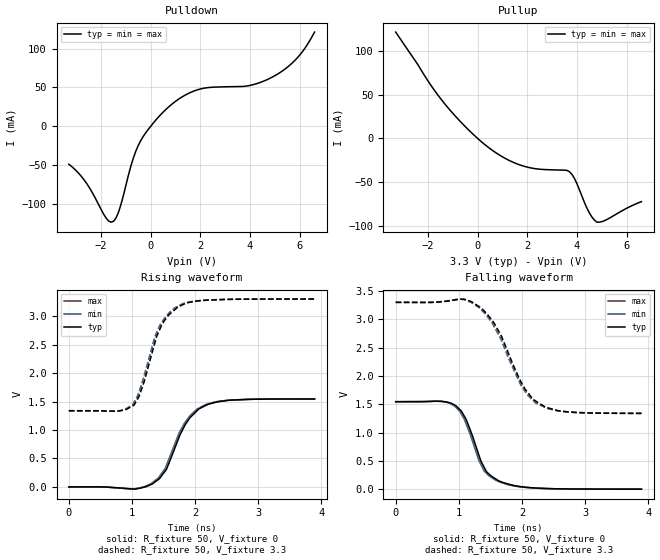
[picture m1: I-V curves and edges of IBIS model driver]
| IBIS file ex2_slowpre_tr50ps.ibs created by PYS2IBIS3
| Missouri S&T EMC Lab
[IBIS Ver] 7.1
[File Name] ex2_slowpre_tr50ps.ibs
[File Rev] 1.0
[Date] July 28, 2026
[Source] ex2 variant 'slowpre' -- predriver at half width
[Notes] Parameter selection; sim_time=3.894e-09, tr=tf=5.000e-11.
[Disclaimer] Experimental characterization for pybis observability study.
[Component] MCM Driver 1
[Manufacturer] MegaFLOPS Inc.
[Package]
| variable   typ   min   max
R_pkg 0 NA NA
L_pkg 0H NA NA
C_pkg 0F NA NA
[Pin]  signal_name   model_name   R_pin   L_pin   C_pin
vdd   vdd   POWER
gnd   gnd   GND
| in in dummy
out   out   driver
| End of Component
| Models and submodels in the file (1): driver (Output)
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[Model] driver
Model_type Output
Polarity Non-Inverting
Enable Active-Low
Vinl  = 0.8V
Vinh  = 2V
C_comp 5.0000pF 5.0000pF 5.0000pF
[Temperature Range] 27.0000 27.0000 27.0000
[Voltage Range] 3.3000V 3.3000V 3.3000V
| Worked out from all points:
|   slope of the pulldown table from 0 to 0.495 V, typ, clamps not added: 27.4 ohm
|   slope of the pullup table from 0 to 0.495 V, typ, clamps not added: 42.7 ohm
|   rising waveform, R_fixture 50, V_fixture 0: 20-80 % time 391ps typ, 389ps min, 389ps max; typ from 0 V to 1.54 V
|   rising waveform, R_fixture 50, V_fixture 3.3: 20-80 % time 349ps typ, 351ps min, 351ps max; typ from 1.34 V to 3.3 V
|   falling waveform, R_fixture 50, V_fixture 0: 20-80 % time 323ps typ, 325ps min, 325ps max; typ from 1.54 V to 0 V
|   falling waveform, R_fixture 50, V_fixture 3.3: 20-80 % time 503ps typ, 503ps min, 503ps max; typ from 3.3 V to 1.34 V
[Pulldown]
| Voltage   I(typ)   I(min)   I(max)
-3.3V     -48.93mA   -48.93mA   -48.93mA
-2.6V     -72.86mA   -72.86mA   -72.86mA
-1.8V     -118.2mA   -118.2mA   -118.2mA
-1.5V     -122.5mA   -122.5mA   -122.5mA
-1.3V     -110.9mA   -110.9mA   -110.9mA
-500mV    -24.59mA   -24.59mA   -24.59mA
600mV     21.34mA    21.34mA    21.34mA
1.9V      47.12mA    47.12mA    47.12mA
3.9V      51.99mA    51.99mA    51.99mA
4.9V      63.38mA    63.38mA    63.38mA
5.9V      87.99mA    87.99mA    87.99mA
6.6V      121.3mA    121.3mA    121.3mA
[Pullup]
| Voltage   I(typ)   I(min)   I(max)
-3.3V     122mA      122mA      122mA
-1.9V     61.75mA    61.75mA    61.75mA
-1.3V     38.86mA    38.86mA    38.86mA
-200mV    5.278mA    5.278mA    5.278mA
700mV     -15.75mA   -15.75mA   -15.75mA
2V        -32.92mA   -32.92mA   -32.92mA
3.7V      -38.24mA   -38.24mA   -38.24mA
3.9V      -45.89mA   -45.89mA   -45.89mA
4.5V      -85.43mA   -85.43mA   -85.43mA
4.8V      -95.97mA   -95.97mA   -95.97mA
5.1V      -94.48mA   -94.48mA   -94.48mA
6.6V      -72.53mA   -72.53mA   -72.53mA
[Ramp]
| variable   typ   min   max
dV/dt_r 0.9270/0.3904n 0.9270/0.3886n 0.9270/0.3886n
dV/dt_f 1.1766/0.5027n 1.1766/0.5027n 1.1766/0.5027n
R_load = 50
[Rising Waveform]
R_fixture = 50
V_fixture = 0
|time   V(typ)   V(min)   V(max)
0s        7.302nV    7.302nV    7.302nV
1.017ns   -37.78mV   -38.99mV   -38.99mV
1.321ns   50.12mV    71mV       71mV
1.419ns   130.1mV    155.2mV    155.2mV
1.547ns   309mV      376.9mV    376.9mV
1.828ns   1.061V     1.11V      1.11V
2.05ns    1.359V     1.376V     1.376V
2.175ns   1.435V     1.45V      1.45V
2.67ns    1.531V     1.532V     1.532V
3.894ns   1.545V     1.545V     1.545V
[Rising Waveform]
R_fixture = 50
V_fixture = 3.3
|time   V(typ)   V(min)   V(max)
0s        1.338V     1.338V     1.338V
795.1ps   1.333V     1.336V     1.336V
1.033ns   1.436V     1.482V     1.482V
1.189ns   1.828V     1.93V      1.93V
1.36ns    2.521V     2.624V     2.624V
1.442ns   2.772V     2.837V     2.837V
1.583ns   3.019V     3.05V      3.05V
1.813ns   3.204V     3.222V     3.222V
2.284ns   3.286V     3.287V     3.287V
3.894ns   3.3V       3.3V       3.3V
[Falling Waveform]
R_fixture = 50
V_fixture = 0
|time   V(typ)   V(min)   V(max)
0s        1.545V     1.545V     1.545V
721.1ps   1.552V     1.551V     1.551V
951.1ps   1.477V     1.451V     1.451V
1.115ns   1.236V     1.162V     1.162V
1.314ns   613.6mV    523.3mV    523.3mV
1.403ns   381mV      320.6mV    320.6mV
1.505ns   237.9mV    218.4mV    218.4mV
1.653ns   137.8mV    124.8mV    124.8mV
2.222ns   18.73mV    17.77mV    17.77mV
3.894ns   99.85uV    103.9uV    103.9uV
[Falling Waveform]
R_fixture = 50
V_fixture = 3.3
|time   V(typ)   V(min)   V(max)
0s        3.3V       3.3V       3.3V
1.021ns   3.356V     3.358V     3.358V
1.345ns   3.21V      3.182V     3.182V
1.52ns    2.994V     2.957V     2.957V
1.672ns   2.713V     2.643V     2.643V
1.953ns   1.961V     1.914V     1.914V
2.078ns   1.728V     1.68V      1.68V
2.175ns   1.587V     1.57V      1.57V
2.405ns   1.439V     1.427V     1.427V
3.894ns   1.339V     1.339V     1.339V
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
